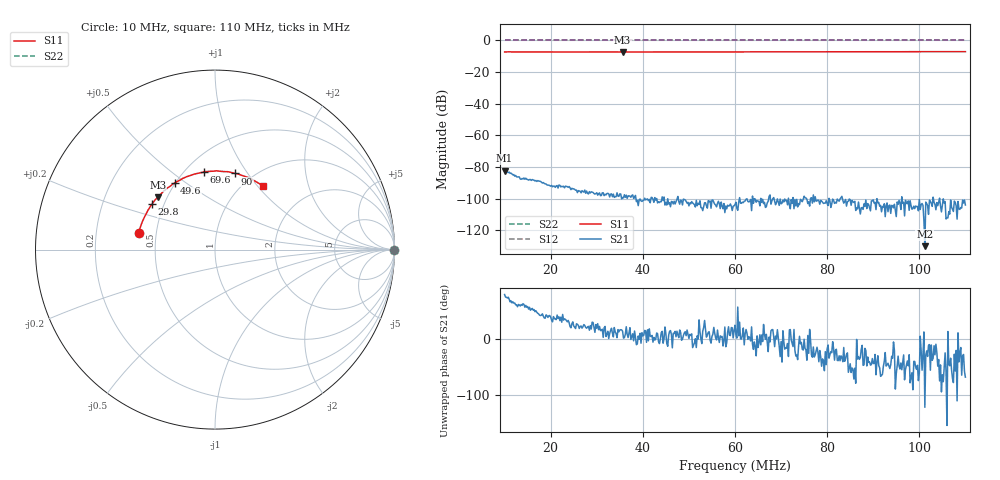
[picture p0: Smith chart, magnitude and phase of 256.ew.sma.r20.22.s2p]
! Anritsu VNA Master:  Model: MS2036C/10/77
! SN:  1601066
! /card0/usr/256.ew.sma.r20.22.s2p
! Existing Calibration Information:
! TYPE:  Current Settings,  Active Cal Settings
! TIME:  12/19/2017 02:49:33 PM,  12/19/2017 02:22:10 PM
! INTERNAL TEMP:  46.3 C,  45.0 C
! # POINTS:  501,  501
! START FREQ:  10.000 MHz,  10.000 MHz
! STOP FREQ:  110.000 MHz,  110.000 MHz
! SOURCE POWER:  High,  High
! IFBW:  100 Hz,  100 Hz
! AVG FACTOR:  1 ,  1
! REF PLANE 1:  0 mm,  0 mm
! REF PLANE 2:  0 mm,  0 mm
! CAL TYPE:  Full S11,  Full S11
! CAL METHOD:  SOLT,  SOLT
! CAL LINE TYPE:  Coax,  Coax
! DUT PORT 1:  N-Conn(F),  N-Conn(F)
! DUT PORT 2:  K-Conn(F),  K-Conn(F)
! CAL STATUS:  OK: Accuracy High,  --
# GHZ S DB R 50.0
! FREQ.GHZ  S11DB  S11A  S21DB  S21A  S12DB  S12A  S22DB  S22A
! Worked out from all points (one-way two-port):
!   501 points, 10 MHz to 110 MHz, reference 50 ohm
!   highest |S21| = -82.29 dB at 10 MHz (marker M1); lowest = -130.1 dB at 101.2 MHz (marker M2)
!   lowest |S11| = -7.3 dB at 35.6 MHz (marker M3), VSWR 2.52, Z = 22.3 + j16 ohm
!   |S11| at or under -10 dB: nowhere
!   |S22| runs from 0.0 to 0.0 dB; largest |S21 - S12| = 1
!   S11 on the Smith chart (normalised r, x): 10 MHz: 0.40, +0.09; 29.8 MHz: 0.43, +0.27; 49.6 MHz: 0.50, +0.45; 69.6 MHz: 0.62, +0.66; 90 MHz: 0.83, +0.88; 110 MHz: 1.22, +1.07
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0.01  -7.23 167.8  -82.29 77.9  0.00 0.0  0.00 0.0
0.018  -7.25 158.3  -89.56 41.6  0.00 0.0  0.00 0.0
0.0268  -7.28 147.8  -94.91 18.7  0.00 0.0  0.00 0.0
0.0298  -7.27 144.4  -96.77 24.9  0.00 0.0  0.00 0.0
0.0336  -7.26 140.0  -97.14 3.3  0.00 0.0  0.00 0.0
0.0356  -7.29 137.5  -99.22 13.4  0.00 0.0  0.00 0.0
0.0404  -7.25 131.8  -99.69 14.7  0.00 0.0  0.00 0.0
0.0434  -7.26 128.4  -101.91 -5.0  0.00 0.0  0.00 0.0
0.0496  -7.26 121.2  -102.81 15.3  0.00 0.0  0.00 0.0
0.055  -7.22 114.8  -100.90 4.1  0.00 0.0  0.00 0.0
0.06  -7.23 109.3  -103.73 23.8  0.00 0.0  0.00 0.0
0.0626  -7.20 106.3  -100.06 9.6  0.00 0.0  0.00 0.0
0.0696  -7.19 98.1  -104.22 -13.6  0.00 0.0  0.00 0.0
0.0768  -7.17 90.0  -102.79 -32.5  0.00 0.0  0.00 0.0
0.0792  -7.17 87.6  -102.98 -39.4  0.00 0.0  0.00 0.0
0.085  -7.14 80.7  -100.62 -44.1  0.00 0.0  0.00 0.0
0.09  -7.15 75.1  -100.73 -43.6  0.00 0.0  0.00 0.0
0.0934  -7.13 71.3  -104.42 -48.1  0.00 0.0  0.00 0.0
0.0984  -7.08 65.4  -106.61 -60.1  0.00 0.0  0.00 0.0
0.1012  -7.08 62.7  -130.07 -120.8  0.00 0.0  0.00 0.0
0.1064  -7.08 56.7  -108.18 -45.4  0.00 0.0  0.00 0.0
0.11  -7.07 52.6  -103.97 -67.7  0.00 0.0  0.00 0.0
